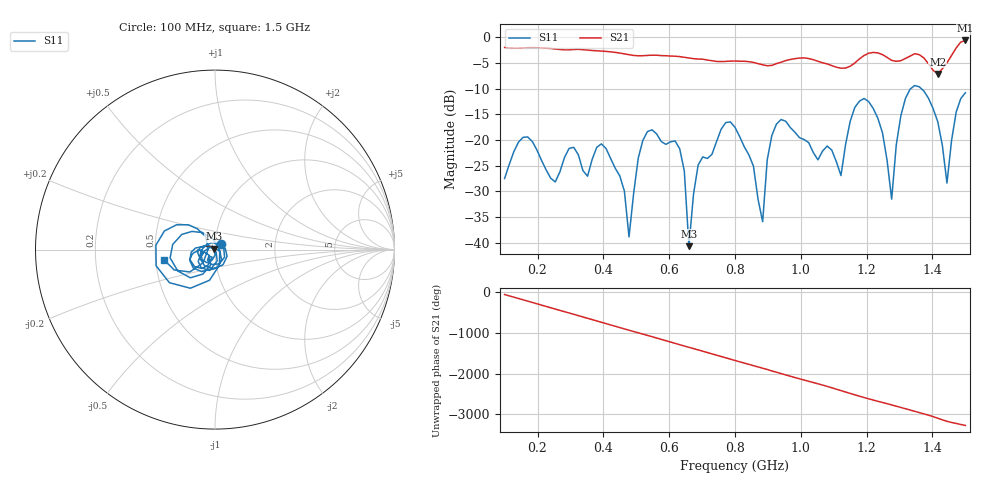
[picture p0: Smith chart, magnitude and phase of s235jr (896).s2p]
! NanoVNA-App
! Date: 2025-09-25 15:11:08
! Start: 100MHz Stop: 1,5GHz Points: 101
! S-Parameter data: F S11 S21 S12 S22
# Hz S RI R 50
!  Frequency  S11_Real  S11_Imag  S21_Real  S21_Imag  S12_Real  S12_Imag  S22_Real  S22_Imag
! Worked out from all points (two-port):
!   101 points, 100 MHz to 1.5 GHz, reference 50 ohm
!   highest |S21| = -0.59 dB at 1.5 GHz (marker M1); lowest = -7.1 dB at 1.416 GHz (marker M2)
!   |S21| within 3 dB of the highest: start of sweep to 596.5 MHz; 1.191 GHz to 1.254 GHz (63.76 MHz wide, 5.22 % of centre) (the widest 2 of 4)
!   lowest |S11| = -40.6 dB at 660 MHz (marker M3), VSWR 1.02, Z = 49.3 + j0.557 ohm
!   |S11| at or under -10 dB: start of sweep to 1.333 GHz; 1.366 GHz to end of sweep
!   S12 and S22 are empty: the file has one direction only
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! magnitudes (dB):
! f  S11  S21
! 100 MHz  -27.5  -2.0
! 156 MHz  -19.5  -2.0
! 338 MHz  -25.9  -2.4
! 408 MHz  -21.6  -2.7
! 478 MHz  -38.8  -3.4
! 520 MHz  -20.0  -3.6
! 576 MHz  -20.3  -3.5
! 632 MHz  -21.7  -3.7
! 660 MHz  -40.6  -4.0
! 688 MHz  -24.9  -4.2
! 800 MHz  -17.5  -4.6
! 884 MHz  -35.9  -5.3
! 926 MHz  -16.9  -5.1
! 1.038 GHz  -22.4  -4.3
! 1.122 GHz  -26.9  -6.0
! 1.192 GHz  -11.9  -3.5
! 1.248 GHz  -18.5  -3.4
! 1.276 GHz  -31.5  -4.5
! 1.332 GHz  -10.1  -3.6
! 1.416 GHz  -16.4  -7.1
! 1.444 GHz  -28.4  -4.9
! 1.5 GHz  -10.8  -0.6
